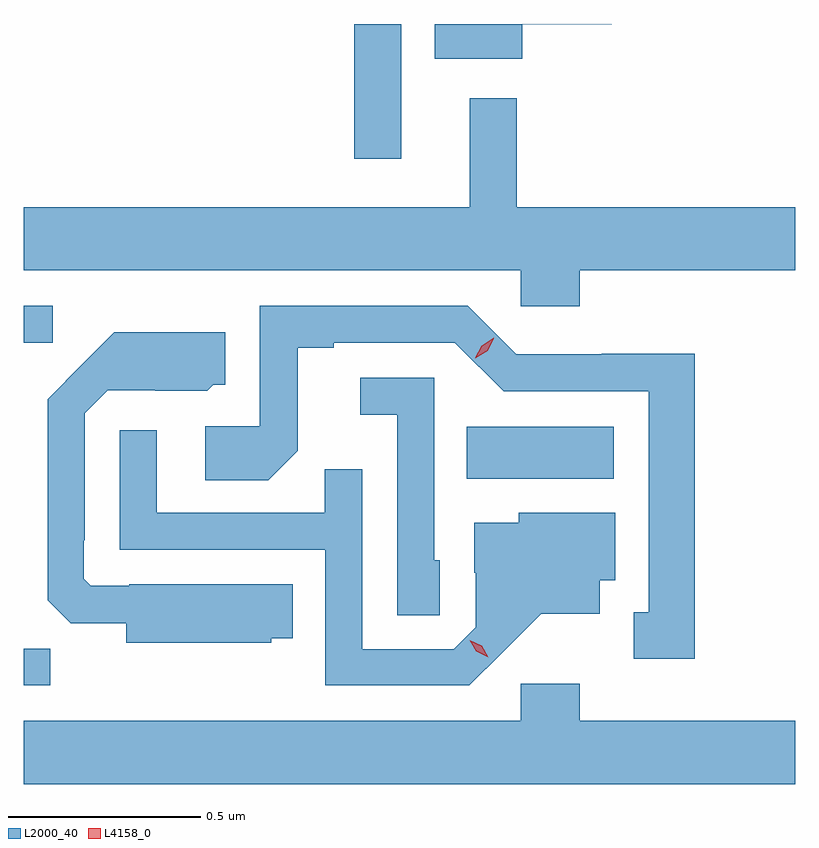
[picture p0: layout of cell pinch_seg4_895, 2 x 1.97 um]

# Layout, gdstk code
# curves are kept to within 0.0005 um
import gdstk
lib = gdstk.Library(unit=1e-6, precision=1e-09)
def R(c, l, rs):  # rectangles x0, y0, x1, y1
    for r in rs: c.add(gdstk.rectangle(r[:2], r[2:], *l))
def P(c, l, *ps):  # polygons
    for p in ps: c.add(gdstk.Polygon(p, *l))
L2000_40 = (2000, 40)
L4158_0 = (4158, 0)

pinch_seg4_895 = lib.new_cell('pinch_seg4_895')
R(pinch_seg4_895, L2000_40, [(766.033,821.052,766.101,821.147), (767.182,821.588,767.563,821.722), (766.033,821.94,766.108,822.036), (766.89,822.417,767.011,822.767)])
P(pinch_seg4_895, L2000_40, [(767.326,822.766),(767.557,822.766),(767.557,822.767),(767.099,822.767),(767.099,822.677),(767.326,822.677)],
  [(767.474,822.128),(768.033,822.128),(768.033,822.292),(767.311,822.292),(767.311,822.574),(767.189,822.574),(767.189,822.292),(766.033,822.292),(766.033,822.128),(767.322,822.128),(767.322,822.035),(767.474,822.035)],
  [(767.773,821.912),(767.532,821.912),(767.532,821.91),(767.31,821.91),(767.184,822.036),(766.644,822.036),(766.644,821.724),(766.503,821.724),(766.503,821.584),(766.667,821.584),(766.743,821.66),(766.743,821.928),(766.837,821.928),(766.837,821.94),(767.151,821.94),(767.277,821.814),(767.654,821.814),(767.654,821.241),(767.615,821.241),(767.615,821.121),(767.773,821.121)],
  [(766.674,821.174),(766.73,821.174),(766.73,821.314),(766.306,821.314),(766.306,821.31),(766.206,821.31),(766.188,821.328),(766.188,821.428),(766.191,821.428),(766.191,821.757),(766.251,821.817),(766.374,821.817),(766.374,821.816),(766.508,821.816),(766.524,821.832),(766.555,821.832),(766.555,821.968),(766.267,821.968),(766.095,821.794),(766.095,821.272),(766.154,821.213),(766.298,821.213),(766.298,821.162),(766.674,821.162)],
  [(767.112,821.376),(767.097,821.376),(767.097,821.85),(766.905,821.85),(766.905,821.753),(767.001,821.753),(767.001,821.233),(767.112,821.233)],
  [(767.272,821.135),(767.375,821.237),(767.527,821.237),(767.527,821.324),(767.566,821.324),(767.566,821.5),(767.316,821.5),(767.316,821.473),(767.201,821.473),(767.201,821.344),(767.205,821.344),(767.205,821.202),(767.148,821.145),(766.911,821.145),(766.911,821.612),(766.813,821.612),(766.813,821.499),(766.377,821.499),(766.377,821.713),(766.281,821.713),(766.281,821.403),(766.815,821.403),(766.815,821.052),(767.188,821.052)],
  [(768.033,820.96),(767.474,820.96),(767.474,821.056),(767.322,821.056),(767.322,820.96),(766.033,820.96),(766.033,820.796),(768.033,820.796)])
P(pinch_seg4_895, L4158_0, [(767.204,821.9),(767.204,821.901),(767.221,821.933),(767.252,821.953),(767.252,821.953),(767.252,821.952),(767.236,821.92),(767.204,821.9)],
  [(767.237,821.125),(767.206,821.14),(767.189,821.169),(767.189,821.169),(767.189,821.169),(767.22,821.154),(767.237,821.125),(767.237,821.125)])

lib.write_gds('pinch_seg4_895.gds')
